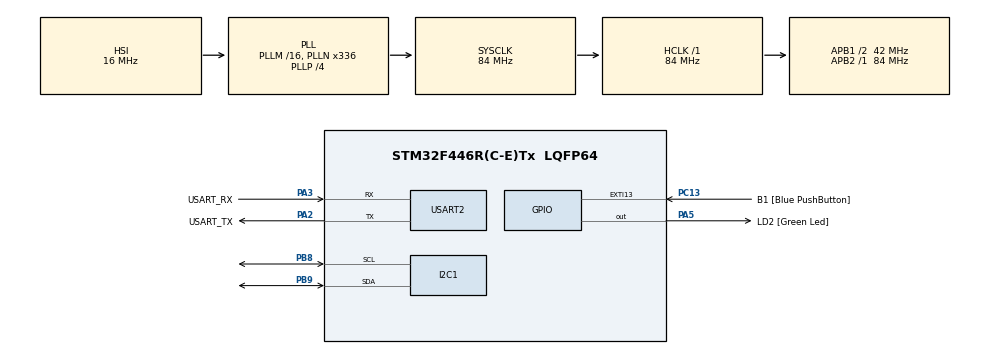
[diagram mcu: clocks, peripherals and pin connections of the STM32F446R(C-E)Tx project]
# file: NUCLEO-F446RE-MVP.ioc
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Dma.I2C1_RX.0.Direction=DMA_PERIPH_TO_MEMORY
Dma.I2C1_RX.0.FIFOMode=DMA_FIFOMODE_DISABLE
Dma.I2C1_RX.0.Instance=DMA1_Stream0
Dma.I2C1_RX.0.MemDataAlignment=DMA_MDATAALIGN_BYTE
Dma.I2C1_RX.0.MemInc=DMA_MINC_ENABLE
Dma.I2C1_RX.0.Mode=DMA_NORMAL
Dma.I2C1_RX.0.PeriphDataAlignment=DMA_PDATAALIGN_BYTE
Dma.I2C1_RX.0.PeriphInc=DMA_PINC_DISABLE
Dma.I2C1_RX.0.Priority=DMA_PRIORITY_MEDIUM
Dma.Request0=I2C1_RX
I2C1.I2C_Mode=I2C_Standard
Mcu.Family=STM32F4
Mcu.Name=STM32F446R(C-E)Tx
Mcu.Package=LQFP64
NVIC.DMA1_Stream0_IRQn=true\:0\:1\:false\:false\:true\:false\:true\:true
NVIC.I2C1_ER_IRQn=true\:0\:1\:false\:false\:true\:true\:true\:true
NVIC.I2C1_EV_IRQn=true\:0\:1\:true\:false\:true\:true\:true\:true
NVIC.PriorityGroup=NVIC_PRIORITYGROUP_0
NVIC.TIM3_IRQn=true\:0\:2\:false\:false\:true\:true\:true\:true
PA13.GPIO_Label=TMS
PA13.Mode=Serial_Wire
PA13.Signal=SYS_JTMS-SWDIO
PA14.GPIO_Label=TCK
PA14.Mode=Serial_Wire
PA14.Signal=SYS_JTCK-SWCLK
PA2.GPIO_Label=USART_TX
PA2.Mode=Asynchronous
PA2.Signal=USART2_TX
PA3.GPIO_Label=USART_RX
PA3.Mode=Asynchronous
PA3.Signal=USART2_RX
PA5.GPIO_Label=LD2 [Green Led]
PA5.Signal=GPIO_Output
PB3.GPIO_Label=SWO
PB3.Signal=SYS_JTDO-SWO
PB8.GPIO_Pu=GPIO_PULLUP
PB8.GPIO_Speed=GPIO_SPEED_FREQ_MEDIUM
PB8.Mode=I2C
PB8.Signal=I2C1_SCL
PB9.GPIO_Pu=GPIO_PULLUP
PB9.GPIO_Speed=GPIO_SPEED_FREQ_MEDIUM
PB9.Mode=I2C
PB9.Signal=I2C1_SDA
PC13.GPIO_Label=B1 [Blue PushButton]
PC13.GPIO_ModeDefaultEXTI=GPIO_MODE_IT_FALLING
PC13.Signal=GPXTI13
PC14-OSC32_IN.Mode=LSE-External-Oscillator
PC14-OSC32_IN.Signal=RCC_OSC32_IN
PC15-OSC32_OUT.Mode=LSE-External-Oscillator
PC15-OSC32_OUT.Signal=RCC_OSC32_OUT
PH0-OSC_IN.Mode=HSE-External-Oscillator
PH0-OSC_IN.Signal=RCC_OSC_IN
PH1-OSC_OUT.Mode=HSE-External-Oscillator
PH1-OSC_OUT.Signal=RCC_OSC_OUT
ProjectManager.HeapSize=0x200
ProjectManager.StackSize=0x400
ProjectManager.TargetToolchain=STM32CubeIDE
RCC.48MHZClocksFreq_Value=84000000
RCC.AHBFreq_Value=84000000
RCC.APB1CLKDivider=RCC_HCLK_DIV2
RCC.APB1Freq_Value=42000000
RCC.APB1TimFreq_Value=84000000
RCC.APB2Freq_Value=84000000
RCC.APB2TimFreq_Value=84000000
RCC.CortexFreq_Value=84000000
RCC.FLatency-AdvancedSettings=FLASH_LATENCY_2
RCC.HCLKFreq_Value=84000000
RCC.HSE_VALUE=8000000
RCC.HSI_VALUE=16000000
RCC.PLLN=336
RCC.PLLP=RCC_PLLP_DIV4
RCC.SYSCLKFreq_VALUE=84000000
RCC.SYSCLKSource=RCC_SYSCLKSOURCE_PLLCLK
RCC.USBFreq_Value=168000000
RCC.VCOOutputFreq_Value=336000000
TIM3.AutoReloadPreload=TIM_AUTORELOAD_PRELOAD_DISABLE
TIM3.Period=9999
TIM3.Prescaler=83
USART2.VirtualMode=VM_ASYNC
VP_TIM3_VS_ClockSourceINT.Mode=Internal
board=NUCLEO-F446RE

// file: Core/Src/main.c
/* USER CODE BEGIN Header */
/**
  ******************************************************************************
  * @file           : main.c
  * @brief          : Main program body
  ******************************************************************************
  * @attention
  *
  * Copyright (c) 2026 STMicroelectronics.
  * All rights reserved.
  *
  * This software is licensed under terms that can be found in the LICENSE file
  * in the root directory of this software component.
  * If no LICENSE file comes with this software, it is provided AS-IS.
  *
  ******************************************************************************
  */
/* USER CODE END Header */
#include "main.h"
#include "dma.h"
#include "i2c.h"
#include "tim.h"
#include "usart.h"
#include "gpio.h"

/* USER CODE BEGIN PV */
volatile uint8_t pData[14];              // MPU6050 데이터를 담을 임시 바구니
volatile int16_t acc_x_raw, acc_y_raw, acc_z_raw;
volatile float acc_x, acc_y, acc_z;
/* USER CODE END PV */

void SystemClock_Config(void);

/* USER CODE BEGIN 0 */
uint16_t temp_addr = (0x48 << 1);
uint16_t vib_addr = (0x68 << 1);
uint16_t cur_addr = (0x40 << 1);
uint8_t vData[6];
uint8_t tData[2];
uint8_t cData[2];
float temp = 0;
float tempC = 0.0078125;
volatile int16_t x_axis = 0;
volatile int16_t y_axis = 0;
volatile int16_t z_axis = 0;
volatile int8_t flag_dma = 0;
volatile int16_t errorCount = 0;
volatile int16_t temp_t = 0;
volatile int8_t i2c_step = 0;
volatile float acc_x, acc_y, acc_z;
volatile uint16_t bus_raw = 0;
volatile float bus_voltage = 0;
volatile int8_t sDownT = 0;

/* USER CODE END 0 */

int main(void)
{

  /* MCU Configuration--------------------------------------------------------*/

  /* Reset of all peripherals, Initializes the Flash interface and the Systick. */
  HAL_Init();

  /* Configure the system clock */
  SystemClock_Config();

  /* Initialize all configured peripherals */
  MX_GPIO_Init();
  MX_DMA_Init();
  MX_I2C1_Init();
  MX_USART2_UART_Init();
  MX_TIM3_Init();
  /* USER CODE BEGIN 2 */
  uint8_t wakeup = 0x00;
  HAL_I2C_Mem_Write(&hi2c1, vib_addr, 0x6B, 1, &wakeup, 1, 100);
  HAL_Delay(100); // 센서가 잠에서 깰 시간!
  HAL_TIM_Base_Start_IT(&htim3);
  uint32_t startTime = HAL_GetTick();
  /* USER CODE END 2 */

  /* Infinite loop */
  while (1)
  {

  }
}

void SystemClock_Config(void)
{
  RCC_OscInitTypeDef RCC_OscInitStruct = {0};
  RCC_ClkInitTypeDef RCC_ClkInitStruct = {0};

  /** Configure the main internal regulator output voltage
  */
  __HAL_RCC_PWR_CLK_ENABLE();
  __HAL_PWR_VOLTAGESCALING_CONFIG(PWR_REGULATOR_VOLTAGE_SCALE3);

  /** Initializes the RCC Oscillators according to the specified parameters
  * in the RCC_OscInitTypeDef structure.
  */
  RCC_OscInitStruct.OscillatorType = RCC_OSCILLATORTYPE_HSI;
  RCC_OscInitStruct.HSIState = RCC_HSI_ON;
  RCC_OscInitStruct.HSICalibrationValue = RCC_HSICALIBRATION_DEFAULT;
  RCC_OscInitStruct.PLL.PLLState = RCC_PLL_ON;
  RCC_OscInitStruct.PLL.PLLSource = RCC_PLLSOURCE_HSI;
  RCC_OscInitStruct.PLL.PLLM = 16;
  RCC_OscInitStruct.PLL.PLLN = 336;
  RCC_OscInitStruct.PLL.PLLP = RCC_PLLP_DIV4;
  RCC_OscInitStruct.PLL.PLLQ = 2;
  RCC_OscInitStruct.PLL.PLLR = 2;
  if (HAL_RCC_OscConfig(&RCC_OscInitStruct) != HAL_OK)
  {
    Error_Handler();
  }

  /** Initializes the CPU, AHB and APB buses clocks
  */
  RCC_ClkInitStruct.ClockType = RCC_CLOCKTYPE_HCLK|RCC_CLOCKTYPE_SYSCLK
                              |RCC_CLOCKTYPE_PCLK1|RCC_CLOCKTYPE_PCLK2;
  RCC_ClkInitStruct.SYSCLKSource = RCC_SYSCLKSOURCE_PLLCLK;
  RCC_ClkInitStruct.AHBCLKDivider = RCC_SYSCLK_DIV1;
  RCC_ClkInitStruct.APB1CLKDivider = RCC_HCLK_DIV2;
  RCC_ClkInitStruct.APB2CLKDivider = RCC_HCLK_DIV1;

  if (HAL_RCC_ClockConfig(&RCC_ClkInitStruct, FLASH_LATENCY_2) != HAL_OK)
  {
    Error_Handler();
  }
}

/* USER CODE BEGIN 4 */
void HAL_I2C_MemRxCpltCallback(I2C_HandleTypeDef *hi2c)
{
    if (hi2c->Instance == I2C1)
    {// 1. Raw 데이터(2바이트)를 16비트 정수로 합치기
        int16_t raw_x = (int16_t)((pData[0] << 8) | pData[1]);
        int16_t raw_y = (int16_t)((pData[2] << 8) | pData[3]);
        int16_t raw_z = (int16_t)((pData[4] << 8) | pData[5]);

        // 2. float 가속도 값으로 변환 (±2g 설정 기준 16384.0f로 나눔)
        acc_x = (float)raw_x / 16384.0f;
        acc_y = (float)raw_y / 16384.0f;
        acc_z = (float)raw_z / 16384.0f;

        // 3. UART 출력 (전송용 버퍼는 static으로 선언해서 메모리 아끼기)
        static char uart_buf[60];
        uint32_t nowtime = HAL_GetTick();

        int len = sprintf(uart_buf, "%.2f,%.2f,%.2f,%us\r\n", acc_x, acc_y, acc_z, nowtime);

        // UART 전송 (Non-blocking 방식인 IT나 DMA 전송을 권장하지만, 일단 테스트용으로 Transmit 사용)
        HAL_UART_Transmit(&huart2, (uint8_t*)uart_buf, len, 2);
    }
}
void HAL_I2C_ErrorCallback(I2C_HandleTypeDef *hi2c) {
    if (hi2c->Instance == I2C1) {

        // 1. I2C 주변장치 리셋
        __HAL_I2C_DISABLE(hi2c);
        __HAL_I2C_ENABLE(hi2c);
    }
}

void HAL_TIM_PeriodElapsedCallback(TIM_HandleTypeDef *htim)
{
    if (htim->Instance == TIM3) {
        // 1ms마다 실행될 코드
        // 여기서 MPU6050 데이터를 DMA로 읽어오라고 시킵니다.
    	if(HAL_GetTick()<180000) HAL_I2C_Mem_Read_DMA(&hi2c1, (vib_addr), 0x3B, 1, pData, 6);
    }
}

/* USER CODE END 4 */

void Error_Handler(void)
{
  __disable_irq();
  while (1)
  {
  }
}
